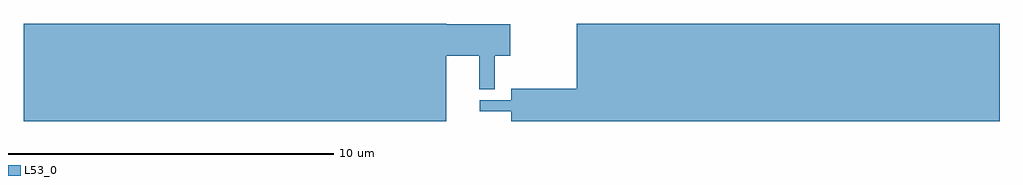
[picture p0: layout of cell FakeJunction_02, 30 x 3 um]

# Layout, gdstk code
import gdstk
lib = gdstk.Library(unit=1e-6, precision=1e-09)
def R(c, l, rs):  # rectangles x0, y0, x1, y1
    for r in rs: c.add(gdstk.rectangle(r[:2], r[2:], *l))
L53_0 = (53, 0)

fakejunction_02 = lib.new_cell('FakeJunction_02')
R(fakejunction_02, L53_0, [(-15,-1.5,-2,1.5), (-0.012,-1.5,2.024,-0.5), (2,-1.5,15,1.5), (-0.977,-1.198,0.047,-0.849), (-0.989,-0.512,-0.512,0.547), (-2.012,0.512,-0.035,1.489)])

lib.write_gds('FakeJunction_02.gds')
